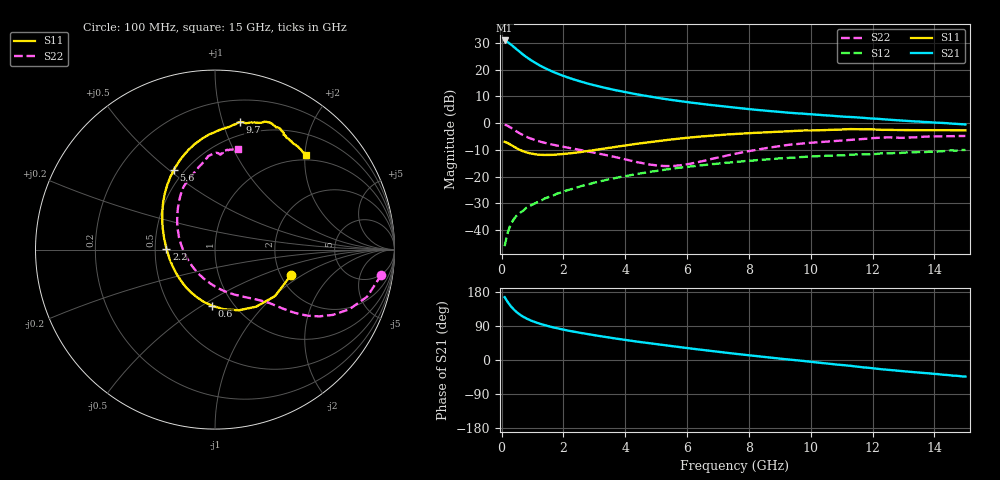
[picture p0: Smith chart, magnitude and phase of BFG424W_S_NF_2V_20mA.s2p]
! Filename BFG424W_2V_20mA.prm
! Simulation_Values
!	! Created	by	janssen	on	Thu	Sep	15	10:02:03	WETDST	2005
!	Column ranking S11, S21,S12,S22 both magnitude and phase.
!	VCE	=	2	V,	IC	=	20	mA
!	Common	Emitter	S-Parameters
#	GHz	S	MA	R	50
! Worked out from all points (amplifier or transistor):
!   150 points, 100 MHz to 15 GHz, reference 50 ohm
!   highest |S21| = 30.9 dB at 100 MHz (marker M1)
!   |S21| within 3 dB of that: start of sweep to 456.6 MHz
!   unconditionally stable (mu >= 1): 1.261 GHz to 11.16 GHz; 11.47 GHz to end of sweep
!   at 2.6 GHz: K = 1.17, MAG = 16.9 dB, |S12| = -23.5 dB
!   at 7.6 GHz: K = 1.12, MAG = 7.9 dB, |S12| = -14.5 dB
!   at 15 GHz: K = 1.10, MAG = 2.9 dB, |S12| = -10.1 dB
!   lowest NFmin = 1.90 dB at 900 GHz
!   S11 on the Smith chart (normalised r, x): 100 MHz: 2.26, -0.81; 600 MHz: 0.80, -0.56; 2.2 GHz: 0.57, +0.01; 5.6 GHz: 0.44, +0.52; 9.7 GHz: 0.38, +1.14; 15 GHz: 0.90, +2.01
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0.1  0.446 -18.8  34.93 165.8  0.005 90.2  0.938 -8.6
0.2  0.423 -37.8  32.56 153.0  0.009 77.0  0.887 -17.2
0.3  0.392 -54.2  29.43 142.1  0.013 71.8  0.819 -23.9
0.4  0.363 -68.7  26.37 133.1  0.016 68.9  0.751 -29.0
0.5  0.336 -81.5  23.54 125.6  0.019 67.2  0.69 -32.6
0.6  0.314 -92.7  21.07 119.4  0.021 66.3  0.637 -35.3
0.7  0.297 -102.6  18.95 114.2  0.023 66.0  0.593 -37.4
0.8  0.283 -111.3  17.16 109.9  0.026 66.0  0.556 -38.8
0.9  0.273 -119.4  15.64 106.0  0.028 66.2  0.525 -40.0
1.1  0.26 -133.2  13.22 99.5  0.032 67.0  0.477 -42.0
1.3  0.254 -144.7  11.41 94.2  0.036 67.3  0.441 -43.6
1.6  0.254 -159.2  9.422 87.5  0.043 68.0  0.401 -46.2
2.2  0.271 178.9  6.932 76.9  0.057 68.0  0.342 -52.8
2.6  0.29 167.8  5.868 70.9  0.067 67.3  0.31 -58.3
3.7  0.36 144.7  4.096 56.5  0.094 63.6  0.23 -79.8
5.1  0.464 123.3  2.924 40.8  0.129 56.3  0.159 -130.3
5.6  0.501 117.1  2.654 35.5  0.142 53.6  0.158 -153.9
7.6  0.628 95.5  1.924 16.0  0.189 40.8  0.27 141.3
9.7  0.723 79.1  1.506 -2.0  0.232 27.1  0.413 111.3
10.1  0.728 75.6  1.442 -5.5  0.239 24.3  0.432 107.5
12.6  0.742 57.9  1.147 -26.6  0.271 8.6  0.537 87.9
15  0.728 46.1  0.941 -43.7  0.313 -5.5  0.574 76.9
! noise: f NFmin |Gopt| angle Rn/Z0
900  1.9  0.19  -165.5  0.18
2000  2.2  0.17  -155.5  0.2
